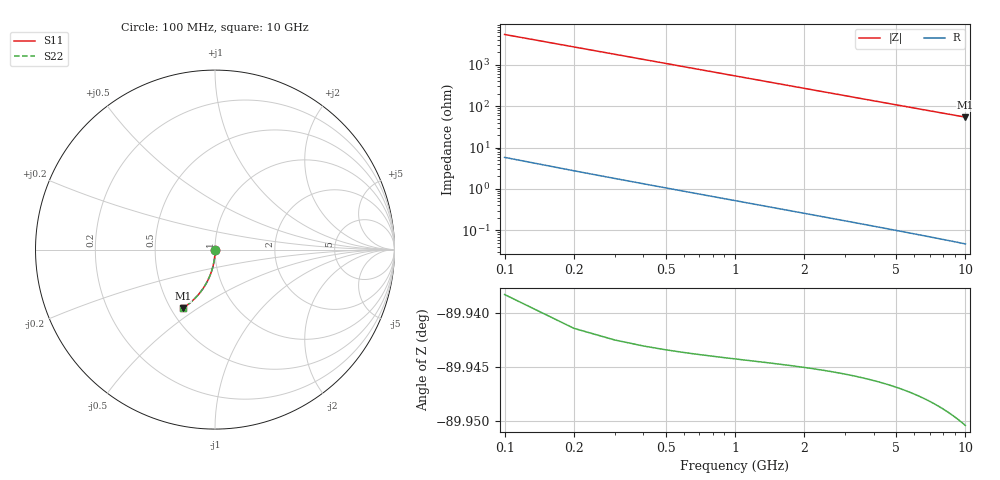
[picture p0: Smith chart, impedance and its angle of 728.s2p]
# Hz S RI R 50.00
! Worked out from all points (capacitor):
!   100 points, 100 MHz to 10 GHz, reference 50 ohm
!   read as one part in shunt: C = 297 fF near 100 MHz
!   lowest |Z| = 54.2 ohm at 10 GHz (marker M1)
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1e8  0.000213 -0.00406  0.9997 -0.00526  0.9997 -0.00526  0.000213 -0.00406
2e8  0.000146 -0.00812  0.9997 -0.0105  0.9997 -0.0105  0.000146 -0.00812
3e8  3.57e-05 -0.0122  0.9995 -0.0158  0.9995 -0.0158  3.57e-05 -0.0122
4e8  -0.000117 -0.0162  0.9994 -0.021  0.9994 -0.021  -0.000117 -0.0162
5e8  -0.000313 -0.0203  0.9992 -0.0263  0.9992 -0.0263  -0.000313 -0.0203
6e8  -0.000551 -0.0243  0.9989 -0.0315  0.9989 -0.0315  -0.000551 -0.0243
7e8  -0.000832 -0.0284  0.9986 -0.0368  0.9986 -0.0368  -0.000832 -0.0284
8e8  -0.00116 -0.0324  0.9983 -0.042  0.9983 -0.042  -0.00116 -0.0324
9e8  -0.00152 -0.0365  0.9979 -0.0472  0.9979 -0.0472  -0.00152 -0.0365
1.1e9  -0.00238 -0.0446  0.997 -0.0577  0.997 -0.0577  -0.00238 -0.0446
1.4e9  -0.00399 -0.0566  0.9954 -0.0733  0.9954 -0.0733  -0.00399 -0.0566
1.8e9  -0.00671 -0.0726  0.9926 -0.0941  0.9926 -0.0941  -0.00671 -0.0726
2.1e9  -0.00919 -0.0845  0.99 -0.1096  0.99 -0.1096  -0.00919 -0.0845
2.5e9  -0.0131 -0.1001  0.986 -0.13  0.986 -0.13  -0.0131 -0.1001
2.9e9  -0.0176 -0.1156  0.9813 -0.1503  0.9813 -0.1503  -0.0176 -0.1156
3.4e9  -0.0241 -0.1346  0.9746 -0.1753  0.9746 -0.1753  -0.0241 -0.1346
4.2e9  -0.0365 -0.164  0.9617 -0.2143  0.9617 -0.2143  -0.0365 -0.164
5.1e9  -0.053 -0.1954  0.9446 -0.2566  0.9446 -0.2566  -0.053 -0.1954
5.9e9  -0.0699 -0.2217  0.927 -0.2925  0.927 -0.2925  -0.0699 -0.2217
6.7e9  -0.0886 -0.2462  0.9076 -0.3267  0.9076 -0.3267  -0.0886 -0.2462
8.4e9  -0.1334 -0.2918  0.8609 -0.3932  0.8609 -0.3932  -0.1334 -0.2918
1e10  -0.18 -0.3264  0.8121 -0.4475  0.8121 -0.4475  -0.18 -0.3264
